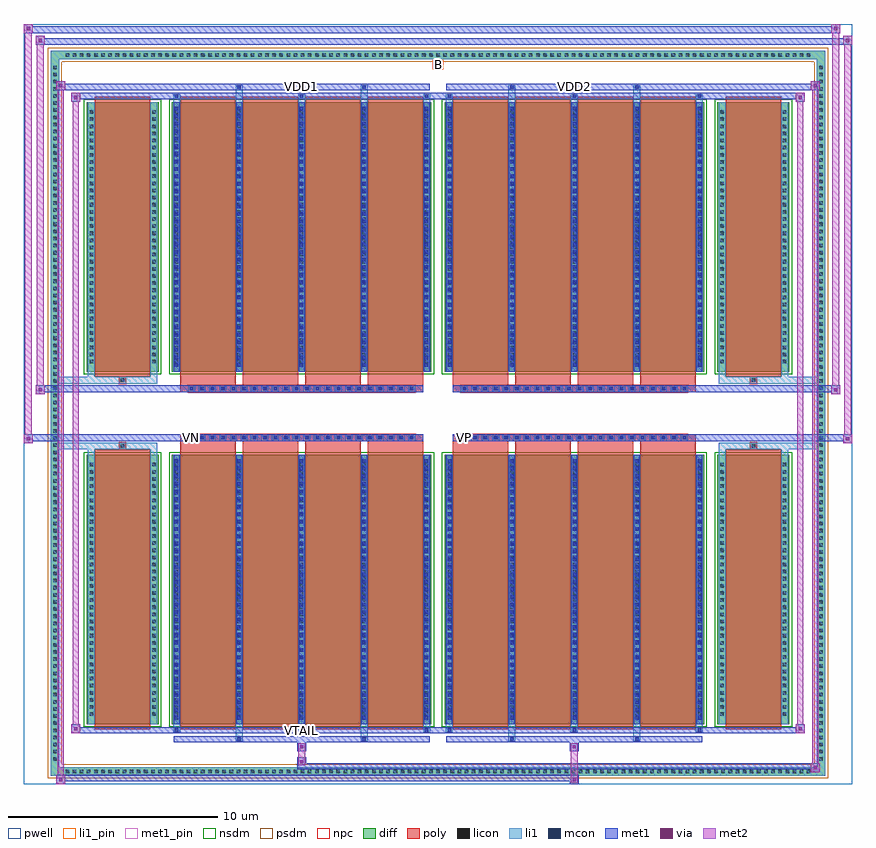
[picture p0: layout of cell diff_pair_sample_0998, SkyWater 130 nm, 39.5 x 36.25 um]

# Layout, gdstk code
import gdstk
lib = gdstk.Library(unit=1e-6, precision=5e-09)
def R(c, l, rs):  # rectangles x0, y0, x1, y1
    for r in rs: c.add(gdstk.rectangle(r[:2], r[2:], *l))
def A(c, l, x, y, w, h, nx, ny, dx, dy):  # array of equal rectangles
    R(c, l, [(x+i*dx, y+j*dy, x+i*dx+w, y+j*dy+h) for i in range(nx) for j in range(ny)])
def P(c, l, *ps):  # polygons
    for p in ps: c.add(gdstk.Polygon(p, *l))
pwell = (64, 44)
diff = (65, 20)
poly = (66, 20)
licon = (66, 44)
li1_pin = (67, 16)
li1 = (67, 20)
mcon = (67, 44)
met1_pin = (68, 16)
met1 = (68, 20)
via = (68, 44)
met2 = (69, 20)
nsdm = (93, 44)
psdm = (94, 20)
npc = (95, 20)

diff_pair_sample_0998 = lib.new_cell('diff_pair_sample_0998')
R(diff_pair_sample_0998, pwell, [(-19.75,-17.69,19.75,18.56), (-17.07,-15.88,-0.01,-0.8), (0.01,-15.88,17.07,-0.8), (-17.07,0.8,-0.01,15.88), (0.01,0.8,17.07,15.88)])
A(diff_pair_sample_0998, diff, -17.885, -17.29, 0.41, 0.41, 105, 2, 0.34, 34.17)
A(diff_pair_sample_0998, diff, -18.48, -16.695, 0.41, 0.41, 1, 98, 0, 0.34)
A(diff_pair_sample_0998, diff, 18.07, -16.695, 0.41, 0.41, 1, 98, 0, 0.34)
R(diff_pair_sample_0998, diff, [(-17.885,-17.29,17.885,-16.88), (-18.48,-16.695,-18.07,16.695), (18.07,-16.695,18.48,16.695), (-16.76,-14.835,-13.33,-1.985), (-12.69,-14.835,-0.32,-1.985), (0.32,-14.835,12.69,-1.985), (13.33,-14.835,16.76,-1.985), (-16.76,1.985,-13.33,14.835), (-12.69,1.985,-0.32,14.835), (0.32,1.985,12.69,14.835), (13.33,1.985,16.76,14.835), (-17.885,16.88,17.885,17.29)])
P(diff_pair_sample_0998, diff, [(18.48,17.29),(-18.48,17.29),(-18.48,-16.88),(-18.07,-16.88),(-18.07,16.88),(18.07,16.88),(18.07,-16.88),(-18.07,-16.88),(-18.48,-16.88),(-18.48,-17.29),(18.48,-17.29)])
A(diff_pair_sample_0998, poly, -12.3, -15.085, 2.65, 13.35, 4, 2, 2.98, 16.82)
A(diff_pair_sample_0998, poly, 0.71, -15.085, 2.65, 13.35, 4, 2, 2.98, 16.82)
A(diff_pair_sample_0998, poly, -12.3, -1.735, 2.65, 0.405, 4, 2, 2.98, 3.065)
A(diff_pair_sample_0998, poly, 0.71, -1.735, 2.65, 0.405, 4, 2, 2.98, 3.065)
A(diff_pair_sample_0998, poly, -11.92, -1.33, 0.33, 0.33, 22, 2, 0.5, 2.33)
A(diff_pair_sample_0998, poly, 1.09, -1.33, 0.33, 0.33, 22, 2, 0.5, 2.33)
R(diff_pair_sample_0998, poly, [(-16.37,-15.085,-13.72,-1.735), (13.72,-15.085,16.37,-1.735), (-15.21,-1.735,-14.88,-1.405), (-15.21,-1.735,-14.88,-1.405), (14.88,-1.735,15.21,-1.405), (14.88,-1.735,15.21,-1.405), (-12.3,-1.33,-0.71,-1), (0.71,-1.33,12.3,-1), (-12.3,1,-0.71,1.33), (0.71,1,12.3,1.33), (-15.21,1.405,-14.88,1.735), (-15.21,1.405,-14.88,1.735), (14.88,1.405,15.21,1.735), (14.88,1.405,15.21,1.735), (-16.37,1.735,-13.72,15.085), (13.72,1.735,16.37,15.085)])
A(diff_pair_sample_0998, licon, -17.765, -17.17, 0.17, 0.17, 105, 2, 0.34, 34.17)
A(diff_pair_sample_0998, licon, -18.36, -16.575, 0.17, 0.17, 1, 98, 0, 0.34)
A(diff_pair_sample_0998, licon, 18.19, -16.575, 0.17, 0.17, 1, 98, 0, 0.34)
A(diff_pair_sample_0998, licon, -16.62, -14.445, 0.17, 0.17, 1, 36, 0, 0.34)
A(diff_pair_sample_0998, licon, -13.64, -14.445, 0.17, 0.17, 1, 36, 0, 0.34)
A(diff_pair_sample_0998, licon, -12.55, -14.445, 0.17, 0.17, 5, 36, 2.98, 0.34)
A(diff_pair_sample_0998, licon, 0.46, -14.445, 0.17, 0.17, 5, 36, 2.98, 0.34)
A(diff_pair_sample_0998, licon, 13.47, -14.445, 0.17, 0.17, 1, 36, 0, 0.34)
A(diff_pair_sample_0998, licon, 16.45, -14.445, 0.17, 0.17, 1, 36, 0, 0.34)
A(diff_pair_sample_0998, licon, -11.84, -1.25, 0.17, 0.17, 22, 2, 0.5, 2.33)
A(diff_pair_sample_0998, licon, 1.17, -1.25, 0.17, 0.17, 22, 2, 0.5, 2.33)
A(diff_pair_sample_0998, licon, -16.62, 2.375, 0.17, 0.17, 1, 36, 0, 0.34)
A(diff_pair_sample_0998, licon, -13.64, 2.375, 0.17, 0.17, 1, 36, 0, 0.34)
A(diff_pair_sample_0998, licon, -12.55, 2.375, 0.17, 0.17, 5, 36, 2.98, 0.34)
A(diff_pair_sample_0998, licon, 0.46, 2.375, 0.17, 0.17, 5, 36, 2.98, 0.34)
A(diff_pair_sample_0998, licon, 13.47, 2.375, 0.17, 0.17, 1, 36, 0, 0.34)
A(diff_pair_sample_0998, licon, 16.45, 2.375, 0.17, 0.17, 1, 36, 0, 0.34)
R(diff_pair_sample_0998, licon, [(-15.13,-1.655,-14.96,-1.485), (14.96,-1.655,15.13,-1.485), (-15.13,1.485,-14.96,1.655), (14.96,1.485,15.13,1.655)])
R(diff_pair_sample_0998, li1_pin, [(-0.25,16.38,0.25,16.88)])
A(diff_pair_sample_0998, li1, -17.845, -17.25, 0.33, 0.33, 105, 2, 0.34, 34.17)
A(diff_pair_sample_0998, li1, -18.44, -16.655, 0.33, 0.33, 1, 98, 0, 0.34)
A(diff_pair_sample_0998, li1, 18.11, -16.655, 0.33, 0.33, 1, 98, 0, 0.34)
A(diff_pair_sample_0998, li1, -12.63, -15.21, 0.33, 0.375, 3, 2, 5.96, 30.045)
A(diff_pair_sample_0998, li1, -12.55, -15.21, 0.17, 0.17, 3, 2, 5.96, 30.25)
A(diff_pair_sample_0998, li1, 0.38, -15.21, 0.33, 0.375, 3, 2, 5.96, 30.045)
A(diff_pair_sample_0998, li1, 0.46, -15.21, 0.17, 0.17, 3, 2, 5.96, 30.25)
A(diff_pair_sample_0998, li1, -12.63, -14.835, 0.33, 12.85, 5, 2, 2.98, 16.82)
A(diff_pair_sample_0998, li1, 0.38, -14.835, 0.33, 12.85, 5, 2, 2.98, 16.82)
A(diff_pair_sample_0998, li1, -12.55, -14.615, 0.17, 0.17, 5, 35, 2.98, 0.36)
A(diff_pair_sample_0998, li1, -12.55, -14.615, 0.17, 12.41, 5, 2, 2.98, 16.82)
A(diff_pair_sample_0998, li1, 0.46, -14.615, 0.17, 0.17, 5, 35, 2.98, 0.36)
A(diff_pair_sample_0998, li1, 0.46, -14.615, 0.17, 12.41, 5, 2, 2.98, 16.82)
A(diff_pair_sample_0998, li1, -16.7, -14.525, 0.33, 0.33, 1, 36, 0, 0.34)
A(diff_pair_sample_0998, li1, -13.72, -14.525, 0.33, 0.33, 1, 36, 0, 0.34)
A(diff_pair_sample_0998, li1, -12.63, -14.525, 0.33, 0.33, 5, 36, 2.98, 0.34)
A(diff_pair_sample_0998, li1, 0.38, -14.525, 0.33, 0.33, 5, 36, 2.98, 0.34)
A(diff_pair_sample_0998, li1, 13.39, -14.525, 0.33, 0.33, 1, 36, 0, 0.34)
A(diff_pair_sample_0998, li1, 16.37, -14.525, 0.33, 0.33, 1, 36, 0, 0.34)
A(diff_pair_sample_0998, li1, -11.92, -1.33, 0.33, 0.33, 22, 2, 0.5, 2.33)
A(diff_pair_sample_0998, li1, 1.09, -1.33, 0.33, 0.33, 22, 2, 0.5, 2.33)
A(diff_pair_sample_0998, li1, -12.55, 2.205, 0.17, 0.17, 5, 35, 2.98, 0.36)
A(diff_pair_sample_0998, li1, 0.46, 2.205, 0.17, 0.17, 5, 35, 2.98, 0.36)
A(diff_pair_sample_0998, li1, -16.7, 2.295, 0.33, 0.33, 1, 36, 0, 0.34)
A(diff_pair_sample_0998, li1, -13.72, 2.295, 0.33, 0.33, 1, 36, 0, 0.34)
A(diff_pair_sample_0998, li1, -12.63, 2.295, 0.33, 0.33, 5, 36, 2.98, 0.34)
A(diff_pair_sample_0998, li1, 0.38, 2.295, 0.33, 0.33, 5, 36, 2.98, 0.34)
A(diff_pair_sample_0998, li1, 13.39, 2.295, 0.33, 0.33, 1, 36, 0, 0.34)
A(diff_pair_sample_0998, li1, 16.37, 2.295, 0.33, 0.33, 1, 36, 0, 0.34)
R(diff_pair_sample_0998, li1, [(-18.48,-17.29,-18.07,-16.88), (-18.48,-17.29,-18.07,-16.88), (-18.07,-17.29,18.07,-16.88), (18.07,-17.29,18.48,-16.88), (18.07,-17.29,18.48,-16.88), (-18.48,-16.88,-18.07,16.88), (18.07,-16.88,18.48,16.88), (-9.65,-15.64,-9.32,-14.835), (-9.57,-15.64,-9.4,-15.47), (-3.69,-15.64,-3.36,-14.835), (-3.61,-15.64,-3.44,-15.47), (3.36,-15.64,3.69,-14.835), (3.44,-15.64,3.61,-15.47), (9.32,-15.64,9.65,-14.835), (9.4,-15.64,9.57,-15.47), (-16.7,-14.835,-16.37,-1.985), (-13.72,-14.835,-13.39,-1.985), (13.39,-14.835,13.72,-1.985), (16.37,-14.835,16.7,-1.985), (-16.7,-1.985,-16.37,-1.405), (-13.72,-1.985,-13.39,-1.405), (13.39,-1.985,13.72,-1.405), (16.37,-1.985,16.7,-1.405), (-18.48,-1.735,-15.21,-1.405), (-16.7,-1.735,-15.21,-1.405), (-15.21,-1.735,-14.88,-1.405), (-14.88,-1.735,-13.39,-1.405), (13.39,-1.735,14.88,-1.405), (14.88,-1.735,15.21,-1.405), (14.88,-1.735,18.48,-1.405), (15.21,-1.735,16.7,-1.405), (-18.48,1.405,-15.21,1.735), (-16.7,1.405,-15.21,1.735), (-16.7,1.405,-16.37,1.985), (-15.21,1.405,-14.88,1.735), (-14.88,1.405,-13.39,1.735), (-13.72,1.405,-13.39,1.985), (13.39,1.405,14.88,1.735), (13.39,1.405,13.72,1.985), (14.88,1.405,15.21,1.735), (14.88,1.405,18.48,1.735), (15.21,1.405,16.7,1.735), (16.37,1.405,16.7,1.985), (-16.7,1.985,-16.37,14.835), (-13.72,1.985,-13.39,14.835), (13.39,1.985,13.72,14.835), (16.37,1.985,16.7,14.835), (-9.65,14.835,-9.32,15.64), (-3.69,14.835,-3.36,15.64), (3.36,14.835,3.69,15.64), (9.32,14.835,9.65,15.64), (-9.57,15.47,-9.4,15.64), (-3.61,15.47,-3.44,15.64), (3.44,15.47,3.61,15.64), (9.4,15.47,9.57,15.64), (-18.48,16.88,-18.07,17.29), (-18.48,16.88,-18.07,17.29), (-18.07,16.88,18.07,17.29), (18.07,16.88,18.48,17.29), (18.07,16.88,18.48,17.29)])
A(diff_pair_sample_0998, mcon, -12.55, -15.21, 0.17, 0.17, 3, 2, 5.96, 30.25)
A(diff_pair_sample_0998, mcon, 0.46, -15.21, 0.17, 0.17, 3, 2, 5.96, 30.25)
A(diff_pair_sample_0998, mcon, -12.55, -14.615, 0.17, 0.17, 5, 35, 2.98, 0.36)
A(diff_pair_sample_0998, mcon, 0.46, -14.615, 0.17, 0.17, 5, 35, 2.98, 0.36)
A(diff_pair_sample_0998, mcon, -11.84, -1.25, 0.17, 0.17, 22, 2, 0.5, 2.33)
A(diff_pair_sample_0998, mcon, 1.17, -1.25, 0.17, 0.17, 22, 2, 0.5, 2.33)
A(diff_pair_sample_0998, mcon, -12.55, 2.205, 0.17, 0.17, 5, 35, 2.98, 0.36)
A(diff_pair_sample_0998, mcon, 0.46, 2.205, 0.17, 0.17, 5, 35, 2.98, 0.36)
R(diff_pair_sample_0998, mcon, [(-9.57,-15.64,-9.4,-15.47), (-3.61,-15.64,-3.44,-15.47), (3.44,-15.64,3.61,-15.47), (9.4,-15.64,9.57,-15.47), (-9.57,15.47,-9.4,15.64), (-3.61,15.47,-3.44,15.64), (3.44,15.47,3.61,15.64), (9.4,15.47,9.57,15.64)])
R(diff_pair_sample_0998, met1_pin, [(-6.64,-15.25,-6.37,-14.98), (-11.89,-1.29,-11.62,-1.02), (1.12,-1.29,1.39,-1.02), (-6.64,15.43,-6.37,15.7), (6.37,15.43,6.64,15.7)])
A(diff_pair_sample_0998, met1, -12.61, -15.27, 0.29, 0.29, 3, 2, 5.96, 30.25)
A(diff_pair_sample_0998, met1, 0.4, -15.27, 0.29, 0.29, 3, 2, 5.96, 30.25)
A(diff_pair_sample_0998, met1, -12.61, -14.835, 0.29, 12.85, 5, 2, 2.98, 16.82)
A(diff_pair_sample_0998, met1, 0.4, -14.835, 0.29, 12.85, 5, 2, 2.98, 16.82)
A(diff_pair_sample_0998, met1, -12.61, -14.675, 0.29, 0.29, 5, 35, 2.98, 0.36)
A(diff_pair_sample_0998, met1, 0.4, -14.675, 0.29, 0.29, 5, 35, 2.98, 0.36)
A(diff_pair_sample_0998, met1, -11.9, -1.31, 0.29, 0.29, 22, 2, 0.5, 2.33)
A(diff_pair_sample_0998, met1, 1.11, -1.31, 0.29, 0.29, 22, 2, 0.5, 2.33)
A(diff_pair_sample_0998, met1, -12.61, 2.145, 0.29, 0.29, 5, 35, 2.98, 0.36)
A(diff_pair_sample_0998, met1, 0.4, 2.145, 0.29, 0.29, 5, 35, 2.98, 0.36)
R(diff_pair_sample_0998, met1, [(-18.21,-17.69,-17.78,-17.26), (6.29,-17.69,6.72,-17.26), (-18.21,-17.55,6.72,-17.26), (17.78,-17.12,18.21,-16.69), (-6.72,-16.98,18.21,-16.69), (-6.72,-16.84,-6.29,-16.41), (-6.72,-16.13,-6.29,-15.7), (6.29,-16.13,6.72,-15.7), (-12.61,-15.7,-0.4,-15.41), (-9.63,-15.7,-9.34,-15.41), (-3.67,-15.7,-3.38,-15.41), (0.4,-15.7,12.61,-15.41), (3.38,-15.7,3.67,-15.41), (9.34,-15.7,9.63,-15.41), (-17.5,-15.27,-17.07,-14.84), (-17.5,-15.27,-12.61,-14.98), (-12.61,-15.27,-0.4,-14.98), (-0.4,-15.27,0.4,-14.98), (0.4,-15.27,12.61,-14.98), (12.61,-15.27,17.5,-14.98), (17.07,-15.27,17.5,-14.84), (-19.75,-1.43,-19.32,-1), (19.32,-1.43,19.75,-1), (-19.75,-1.33,-0.71,-1), (-12.3,-1.33,-0.71,-1), (0.71,-1.33,12.3,-1), (0.71,-1.33,19.75,-1), (-19.18,0.9,-18.75,1.33), (18.75,0.9,19.18,1.33), (-19.18,1,-12.3,1.33), (-12.3,1,-0.71,1.33), (0.71,1,12.3,1.33), (12.3,1,19.18,1.33), (-17.5,14.84,-17.07,15.27), (17.07,14.84,17.5,15.27), (-17.5,14.98,-12.61,15.27), (-12.61,14.98,-0.4,15.27), (-0.4,14.98,0.4,15.27), (0.4,14.98,12.61,15.27), (12.61,14.98,17.5,15.27), (-18.21,15.41,-17.78,15.84), (-18.21,15.41,-12.61,15.7), (-12.61,15.41,-0.4,15.7), (-9.63,15.41,-9.34,15.7), (-3.67,15.41,-3.38,15.7), (0.4,15.41,12.61,15.7), (3.38,15.41,3.67,15.7), (9.34,15.41,9.63,15.7), (12.61,15.41,18.21,15.7), (17.78,15.41,18.21,15.84), (-19.18,17.56,-18.75,17.99), (-19.18,17.56,-17.07,17.89), (-17.07,17.56,17.07,17.89), (17.07,17.56,19.75,17.89), (19.32,17.56,19.75,17.99), (-19.75,18.13,-19.32,18.56), (-19.75,18.13,-17.07,18.46), (-17.07,18.13,17.07,18.46), (17.07,18.13,19.18,18.46), (18.75,18.13,19.18,18.56)])
R(diff_pair_sample_0998, via, [(-18.07,-17.55,-17.92,-17.4), (6.43,-17.55,6.58,-17.4), (17.92,-16.98,18.07,-16.83), (-6.58,-16.7,-6.43,-16.55), (-6.58,-15.99,-6.43,-15.84), (6.43,-15.99,6.58,-15.84), (-17.36,-15.13,-17.21,-14.98), (17.21,-15.13,17.36,-14.98), (-19.61,-1.29,-19.46,-1.14), (19.46,-1.29,19.61,-1.14), (-19.04,1.04,-18.89,1.19), (18.89,1.04,19.04,1.19), (-17.36,14.98,-17.21,15.13), (17.21,14.98,17.36,15.13), (-18.07,15.55,-17.92,15.7), (17.92,15.55,18.07,15.7), (-19.04,17.7,-18.89,17.85), (19.46,17.7,19.61,17.85), (-19.61,18.27,-19.46,18.42), (18.89,18.27,19.04,18.42)])
R(diff_pair_sample_0998, met2, [(-18.21,-17.69,-17.78,-17.26), (-18.14,-17.69,-17.85,15.84), (-17.85,-17.69,-17.78,-17.26), (-18.16,-17.64,-17.83,-17.31), (6.34,-17.64,6.67,-17.31), (6.34,-17.31,6.67,-16.08), (17.78,-17.12,18.21,-16.69), (17.85,-17.12,18.14,15.84), (18.14,-17.12,18.21,-16.69), (17.83,-17.07,18.16,-16.74), (-6.67,-16.79,-6.34,-16.46), (-6.67,-16.46,-6.34,-16.08), (-6.67,-16.08,-6.34,-15.75), (6.34,-16.08,6.67,-15.75), (-17.5,-15.27,-17.07,-14.84), (-17.43,-15.27,-17.14,15.27), (-17.14,-15.27,-17.07,-14.84), (17.07,-15.27,17.5,-14.84), (17.14,-15.27,17.43,15.27), (17.43,-15.27,17.5,-14.84), (-17.45,-15.22,-17.12,-14.89), (17.12,-15.22,17.45,-14.89), (-19.75,-1.43,-19.32,-1), (-19.7,-1.43,-19.37,18.56), (-19.37,-1.43,-19.32,-1), (19.32,-1.43,19.75,-1), (19.37,-1.43,19.7,17.99), (19.7,-1.43,19.75,-1), (-19.7,-1.38,-19.37,-1.05), (19.37,-1.38,19.7,-1.05), (-19.18,0.9,-18.75,1.33), (-19.13,0.9,-18.8,17.99), (-18.8,0.9,-18.75,1.33), (18.75,0.9,19.18,1.33), (18.8,0.9,19.13,18.56), (19.13,0.9,19.18,1.33), (-19.13,0.95,-18.8,1.28), (18.8,0.95,19.13,1.28), (-17.5,14.84,-17.07,15.27), (-17.14,14.84,-17.07,15.27), (17.07,14.84,17.5,15.27), (17.43,14.84,17.5,15.27), (-17.45,14.89,-17.12,15.22), (17.12,14.89,17.45,15.22), (-18.21,15.41,-17.78,15.84), (-17.85,15.41,-17.78,15.84), (17.78,15.41,18.21,15.84), (18.14,15.41,18.21,15.84), (-18.16,15.46,-17.83,15.79), (17.83,15.46,18.16,15.79), (-19.18,17.56,-18.75,17.99), (-18.8,17.56,-18.75,17.99), (19.32,17.56,19.75,17.99), (19.7,17.56,19.75,17.99), (-19.13,17.61,-18.8,17.94), (19.37,17.61,19.7,17.94), (-19.75,18.13,-19.32,18.56), (-19.37,18.13,-19.32,18.56), (18.75,18.13,19.18,18.56), (19.13,18.13,19.18,18.56), (-19.7,18.18,-19.37,18.51), (18.8,18.18,19.13,18.51)])
R(diff_pair_sample_0998, nsdm, [(-16.89,-14.965,-13.2,-1.855), (-12.82,-14.965,-0.19,-1.855), (0.19,-14.965,12.82,-1.855), (13.2,-14.965,16.89,-1.855), (-16.89,1.855,-13.2,14.965), (-12.82,1.855,-0.19,14.965), (0.19,1.855,12.82,14.965), (13.2,1.855,16.89,14.965)])
P(diff_pair_sample_0998, psdm, [(18.61,17.42),(-18.61,17.42),(-18.61,-16.75),(-17.94,-16.75),(-17.94,16.75),(17.94,16.75),(17.94,-16.75),(-17.94,-16.75),(-18.61,-16.75),(-18.61,-17.42),(18.61,-17.42)])
A(diff_pair_sample_0998, npc, -11.94, -1.35, 0.37, 0.37, 22, 2, 0.5, 2.33)
A(diff_pair_sample_0998, npc, 1.07, -1.35, 0.37, 0.37, 22, 2, 0.5, 2.33)
R(diff_pair_sample_0998, npc, [(-15.23,-1.755,-14.86,-1.385), (14.86,-1.755,15.23,-1.385), (-11.94,-1.35,-11.07,-0.98), (-11.94,-1.35,-11.07,-0.98), (-11.44,-1.35,-10.57,-0.98), (-11.44,-1.35,-10.57,-0.98), (-10.94,-1.35,-10.07,-0.98), (-10.94,-1.35,-10.07,-0.98), (-10.44,-1.35,-9.57,-0.98), (-10.44,-1.35,-9.57,-0.98), (-9.94,-1.35,-9.07,-0.98), (-9.94,-1.35,-9.07,-0.98), (-9.44,-1.35,-8.57,-0.98), (-9.44,-1.35,-8.57,-0.98), (-8.94,-1.35,-8.07,-0.98), (-8.94,-1.35,-8.07,-0.98), (-8.44,-1.35,-7.57,-0.98), (-8.44,-1.35,-7.57,-0.98), (-7.94,-1.35,-7.07,-0.98), (-7.94,-1.35,-7.07,-0.98), (-7.44,-1.35,-6.57,-0.98), (-7.44,-1.35,-6.57,-0.98), (-6.94,-1.35,-6.07,-0.98), (-6.94,-1.35,-6.07,-0.98), (-6.44,-1.35,-5.57,-0.98), (-6.44,-1.35,-5.57,-0.98), (-5.94,-1.35,-5.07,-0.98), (-5.94,-1.35,-5.07,-0.98), (-5.44,-1.35,-4.57,-0.98), (-5.44,-1.35,-4.57,-0.98), (-4.94,-1.35,-4.07,-0.98), (-4.94,-1.35,-4.07,-0.98), (-4.44,-1.35,-3.57,-0.98), (-4.44,-1.35,-3.57,-0.98), (-3.94,-1.35,-3.07,-0.98), (-3.94,-1.35,-3.07,-0.98), (-3.44,-1.35,-2.57,-0.98), (-3.44,-1.35,-2.57,-0.98), (-2.94,-1.35,-2.07,-0.98), (-2.94,-1.35,-2.07,-0.98), (-2.44,-1.35,-1.57,-0.98), (-2.44,-1.35,-1.57,-0.98), (-1.94,-1.35,-1.07,-0.98), (-1.94,-1.35,-1.07,-0.98), (1.07,-1.35,1.94,-0.98), (1.07,-1.35,1.94,-0.98), (1.57,-1.35,2.44,-0.98), (1.57,-1.35,2.44,-0.98), (2.07,-1.35,2.94,-0.98), (2.07,-1.35,2.94,-0.98), (2.57,-1.35,3.44,-0.98), (2.57,-1.35,3.44,-0.98), (3.07,-1.35,3.94,-0.98), (3.07,-1.35,3.94,-0.98), (3.57,-1.35,4.44,-0.98), (3.57,-1.35,4.44,-0.98), (4.07,-1.35,4.94,-0.98), (4.07,-1.35,4.94,-0.98), (4.57,-1.35,5.44,-0.98), (4.57,-1.35,5.44,-0.98), (5.07,-1.35,5.94,-0.98), (5.07,-1.35,5.94,-0.98), (5.57,-1.35,6.44,-0.98), (5.57,-1.35,6.44,-0.98), (6.07,-1.35,6.94,-0.98), (6.07,-1.35,6.94,-0.98), (6.57,-1.35,7.44,-0.98), (6.57,-1.35,7.44,-0.98), (7.07,-1.35,7.94,-0.98), (7.07,-1.35,7.94,-0.98), (7.57,-1.35,8.44,-0.98), (7.57,-1.35,8.44,-0.98), (8.07,-1.35,8.94,-0.98), (8.07,-1.35,8.94,-0.98), (8.57,-1.35,9.44,-0.98), (8.57,-1.35,9.44,-0.98), (9.07,-1.35,9.94,-0.98), (9.07,-1.35,9.94,-0.98), (9.57,-1.35,10.44,-0.98), (9.57,-1.35,10.44,-0.98), (10.07,-1.35,10.94,-0.98), (10.07,-1.35,10.94,-0.98), (10.57,-1.35,11.44,-0.98), (10.57,-1.35,11.44,-0.98), (11.07,-1.35,11.94,-0.98), (11.07,-1.35,11.94,-0.98), (-11.94,0.98,-11.07,1.35), (-11.94,0.98,-11.07,1.35), (-11.44,0.98,-10.57,1.35), (-11.44,0.98,-10.57,1.35), (-10.94,0.98,-10.07,1.35), (-10.94,0.98,-10.07,1.35), (-10.44,0.98,-9.57,1.35), (-10.44,0.98,-9.57,1.35), (-9.94,0.98,-9.07,1.35), (-9.94,0.98,-9.07,1.35), (-9.44,0.98,-8.57,1.35), (-9.44,0.98,-8.57,1.35), (-8.94,0.98,-8.07,1.35), (-8.94,0.98,-8.07,1.35), (-8.44,0.98,-7.57,1.35), (-8.44,0.98,-7.57,1.35), (-7.94,0.98,-7.07,1.35), (-7.94,0.98,-7.07,1.35), (-7.44,0.98,-6.57,1.35), (-7.44,0.98,-6.57,1.35), (-6.94,0.98,-6.07,1.35), (-6.94,0.98,-6.07,1.35), (-6.44,0.98,-5.57,1.35), (-6.44,0.98,-5.57,1.35), (-5.94,0.98,-5.07,1.35), (-5.94,0.98,-5.07,1.35), (-5.44,0.98,-4.57,1.35), (-5.44,0.98,-4.57,1.35), (-4.94,0.98,-4.07,1.35), (-4.94,0.98,-4.07,1.35), (-4.44,0.98,-3.57,1.35), (-4.44,0.98,-3.57,1.35), (-3.94,0.98,-3.07,1.35), (-3.94,0.98,-3.07,1.35), (-3.44,0.98,-2.57,1.35), (-3.44,0.98,-2.57,1.35), (-2.94,0.98,-2.07,1.35), (-2.94,0.98,-2.07,1.35), (-2.44,0.98,-1.57,1.35), (-2.44,0.98,-1.57,1.35), (-1.94,0.98,-1.07,1.35), (-1.94,0.98,-1.07,1.35), (1.07,0.98,1.94,1.35), (1.07,0.98,1.94,1.35), (1.57,0.98,2.44,1.35), (1.57,0.98,2.44,1.35), (2.07,0.98,2.94,1.35), (2.07,0.98,2.94,1.35), (2.57,0.98,3.44,1.35), (2.57,0.98,3.44,1.35), (3.07,0.98,3.94,1.35), (3.07,0.98,3.94,1.35), (3.57,0.98,4.44,1.35), (3.57,0.98,4.44,1.35), (4.07,0.98,4.94,1.35), (4.07,0.98,4.94,1.35), (4.57,0.98,5.44,1.35), (4.57,0.98,5.44,1.35), (5.07,0.98,5.94,1.35), (5.07,0.98,5.94,1.35), (5.57,0.98,6.44,1.35), (5.57,0.98,6.44,1.35), (6.07,0.98,6.94,1.35), (6.07,0.98,6.94,1.35), (6.57,0.98,7.44,1.35), (6.57,0.98,7.44,1.35), (7.07,0.98,7.94,1.35), (7.07,0.98,7.94,1.35), (7.57,0.98,8.44,1.35), (7.57,0.98,8.44,1.35), (8.07,0.98,8.94,1.35), (8.07,0.98,8.94,1.35), (8.57,0.98,9.44,1.35), (8.57,0.98,9.44,1.35), (9.07,0.98,9.94,1.35), (9.07,0.98,9.94,1.35), (9.57,0.98,10.44,1.35), (9.57,0.98,10.44,1.35), (10.07,0.98,10.94,1.35), (10.07,0.98,10.94,1.35), (10.57,0.98,11.44,1.35), (10.57,0.98,11.44,1.35), (11.07,0.98,11.94,1.35), (11.07,0.98,11.94,1.35), (-15.23,1.385,-14.86,1.755), (14.86,1.385,15.23,1.755)])
diff_pair_sample_0998.add(gdstk.Label('VTAIL', (-6.505,-15.115), layer=68, texttype=5))
diff_pair_sample_0998.add(gdstk.Label('VN', (-11.755,-1.155), layer=68, texttype=5))
diff_pair_sample_0998.add(gdstk.Label('VP', (1.255,-1.155), layer=68, texttype=5))
diff_pair_sample_0998.add(gdstk.Label('B', (0,16.63), layer=67, texttype=5))
diff_pair_sample_0998.add(gdstk.Label('VDD2', (6.505,15.565), layer=68, texttype=5))
diff_pair_sample_0998.add(gdstk.Label('VDD1', (-6.505,15.565), layer=68, texttype=5))

lib.write_gds('diff_pair_sample_0998.gds')
